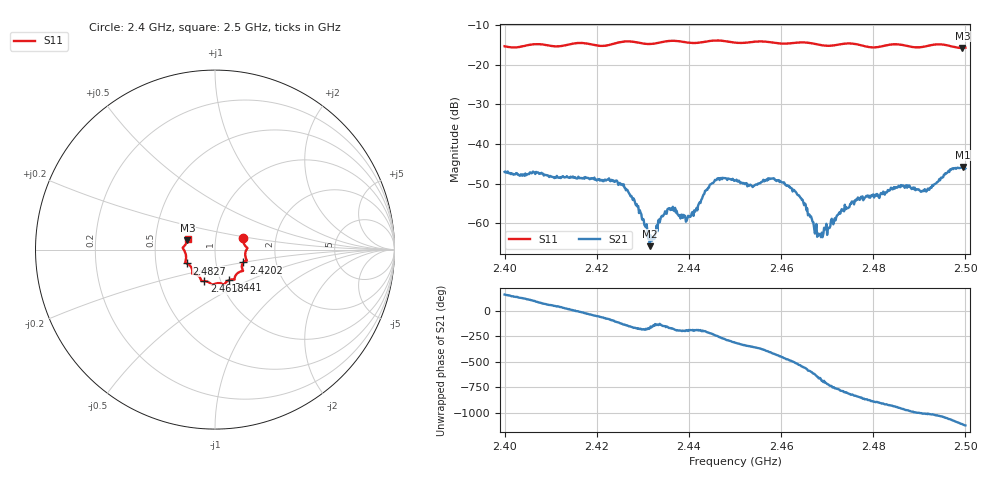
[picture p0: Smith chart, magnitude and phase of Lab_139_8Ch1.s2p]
# Hz S RI R 50
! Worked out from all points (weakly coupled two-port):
!   601 points, 2.4 GHz to 2.5 GHz, reference 50 ohm
!   highest |S21| = -45.79 dB at 2.4995 GHz (marker M1); lowest = -65.8 dB at 2.4315 GHz (marker M2)
!   lowest |S11| = -15.8 dB at 2.4993 GHz (marker M3), VSWR 1.39, Z = 36.5 + j3.84 ohm
!   |S11| at or under -10 dB: start of sweep to end of sweep
!   S12 and S22 are empty: the file has one direction only
!   S11 on the Smith chart (normalised r, x): 2.4 GHz: 1.36, +0.18; 2.4202 GHz: 1.36, -0.20; 2.441 GHz: 1.10, -0.39; 2.4618 GHz: 0.84, -0.30; 2.4827 GHz: 0.72, -0.12; 2.5 GHz: 0.73, +0.09
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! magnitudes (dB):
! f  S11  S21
! 2.4 GHz  -15.4  -47.1
! 2.4167 GHz  -14.5  -48.6
! 2.4202 GHz  -15.2  -48.9
! 2.4262 GHz  -14.2  -51.1
! 2.4292 GHz  -14.5  -57.4
! 2.4315 GHz  -14.8  -65.8
! 2.4333 GHz  -14.5  -59.3
! 2.436 GHz  -14.0  -56.7
! 2.4392 GHz  -14.4  -58.1
! 2.441 GHz  -14.6  -58.1
! 2.446 GHz  -13.9  -49.1
! 2.45 GHz  -14.5  -49.3
! 2.4618 GHz  -14.7  -50.7
! 2.4667 GHz  -14.6  -58.9
! 2.4687 GHz  -15.1  -63.5
! 2.4758 GHz  -14.8  -55.3
! 2.4827 GHz  -15.2  -52.3
! 2.4833 GHz  -15.0  -51.7
! 2.4912 GHz  -15.5  -51.4
! 2.4993 GHz  -15.8  -46.0
! 2.4995 GHz  -15.8  -45.8
! 2.5 GHz  -15.7  -46.2
